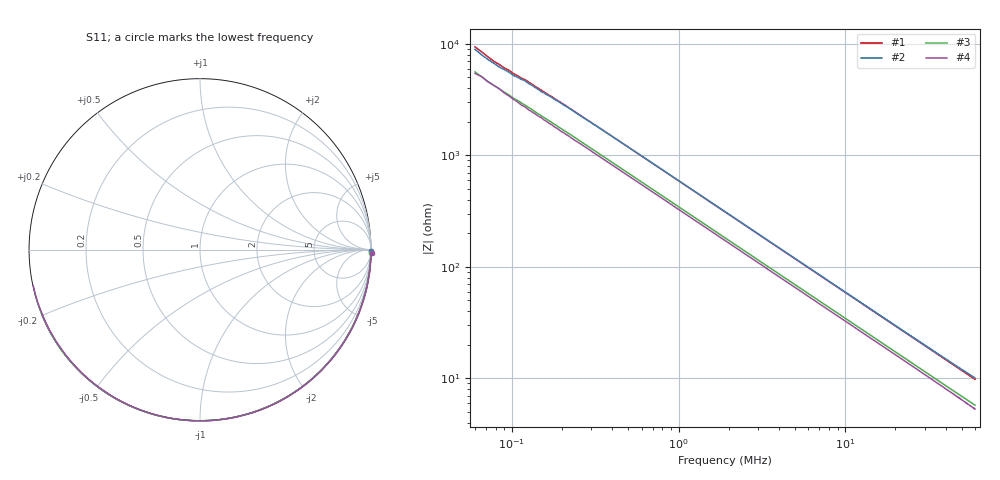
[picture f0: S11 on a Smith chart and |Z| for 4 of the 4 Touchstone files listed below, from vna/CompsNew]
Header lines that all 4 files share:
!Keysight Technologies,E5063A,MY54100949,A.07.30
!Data & Calibration Information:
# Hz S RI R 50
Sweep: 60 kHz to 60 MHz
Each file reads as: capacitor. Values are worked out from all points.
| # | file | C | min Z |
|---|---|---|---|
| 1 | C13.S1P | 270 pF | 9.8 ohm |
| 2 | C22C23.S1P | 269 pF | 10.1 ohm |
| 3 | CMR.S1P | 461 pF | 5.75 ohm |
| 4 | CMR_BOARD.S1P | 487 pF | 5.3 ohm |
